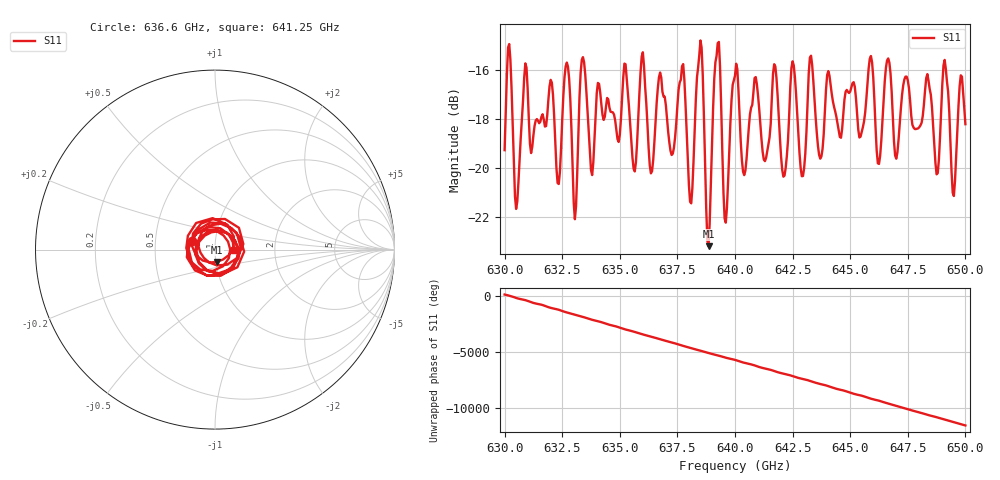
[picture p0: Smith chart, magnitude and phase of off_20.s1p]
!Created with skrf (http://scikit-rf.org).
# GHz S RI R 50.0
!freq ReS11 ImS11
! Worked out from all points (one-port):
!   401 points, 630 GHz to 650 GHz, reference 50 ohm
!   lowest |S11| = -23.2 dB at 638.85 GHz (marker M1), VSWR 1.15, Z = 50.6 - j6.94 ohm
!   |S11| at or under -10 dB: start of sweep to end of sweep
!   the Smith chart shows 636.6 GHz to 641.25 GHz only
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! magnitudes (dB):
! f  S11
! 630 GHz  -19.3
! 632.5 GHz  -18.1
! 632.75 GHz  -15.9
! 633.05 GHz  -22.1
! 633.4 GHz  -15.5
! 633.75 GHz  -20.1
! 635 GHz  -18.7
! 637.5 GHz  -17.5
! 638.1 GHz  -21.5
! 638.5 GHz  -14.8
! 638.85 GHz  -23.2
! 639.2 GHz  -15.4
! 639.6 GHz  -22.2
! 640 GHz  -16.3
! 640.4 GHz  -20.3
! 641.75 GHz  -15.9
! 642.1 GHz  -20.4
! 642.5 GHz  -15.7
! 642.9 GHz  -20.4
! 643.3 GHz  -15.4
! 643.7 GHz  -19.6
! 645 GHz  -16.9
! 646.25 GHz  -19.9
! 647.5 GHz  -16.4
! 648.75 GHz  -20.3
! 649.15 GHz  -16.0
! 649.5 GHz  -21.2
! 650 GHz  -18.2
